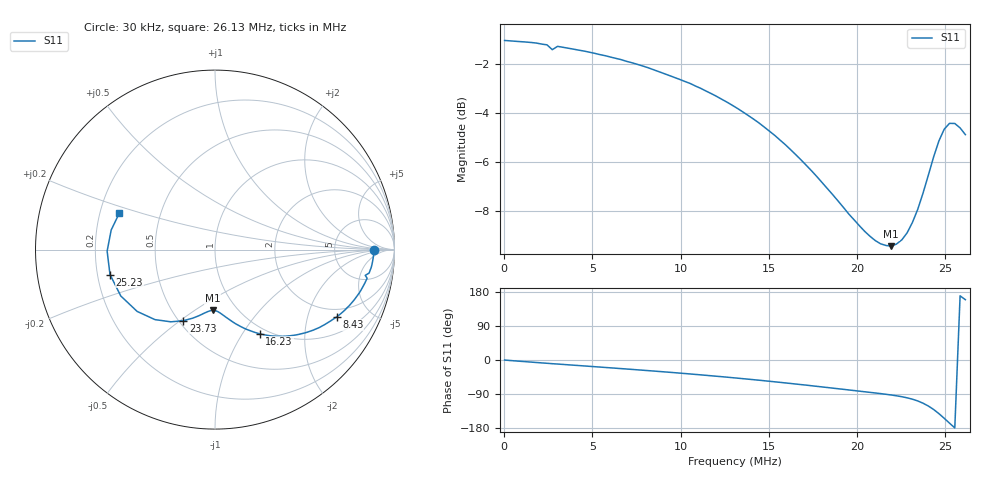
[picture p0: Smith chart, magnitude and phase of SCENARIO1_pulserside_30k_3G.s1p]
!Agilent N9914A: A.07.26
!Date: Monday, 20 February 2023 13:56:21
!Model: N9914A
!Serial: MY53102584
!GPS Latitude:
!GPS Longitude:
!GPS TimeStamp: 0001-01-01 00:00:00Z
!GPS Seconds Since Last Read: 0
!CHECKSUM:1681958176
!Correction: S11(ON U)
!S1P File: Measurement: S11:
# Hz S DB R 50
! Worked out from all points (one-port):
!   88 points, 30 kHz to 26.13 MHz, reference 50 ohm
!   lowest |S11| = -9.4 dB at 21.93 MHz (marker M1), VSWR 2.02, Z = 38.8 - j29.6 ohm
!   |S11| at or under -10 dB: nowhere
!   S11 on the Smith chart (normalised r, x): 30 kHz: 17, -0; 8.43 MHz: 1.64, -3.06; 16.23 MHz: 0.92, -1.20; 23.73 MHz: 0.53, -0.51; 25.23 MHz: 0.25, -0.11; 26.13 MHz: 0.28, +0.17
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30000  -1.04 -0.1
1829982  -1.15 -6.6
2429976  -1.22 -8.6
2729973  -1.42 -9.7
3029970  -1.28 -10.7
3329967  -1.32 -11.7
6629934  -1.82 -22.7
8429916  -2.23 -29.0
9929901  -2.62 -34.5
1.172988e7  -3.21 -41.6
1.322987e7  -3.82 -47.9
1.472985e7  -4.56 -54.7
1.622984e7  -5.49 -61.9
1.652984e7  -5.70 -63.5
1.98298e7  -8.35 -80.6
2.102979e7  -9.19 -87.0
2.192978e7  -9.41 -92.3
2.252978e7  -9.16 -96.9
2.312977e7  -8.45 -103.4
2.372976e7  -7.26 -114.0
2.402976e7  -6.53 -121.4
2.432976e7  -5.79 -130.6
2.462975e7  -5.13 -141.5
2.492975e7  -4.66 -153.8
2.522975e7  -4.42 -166.6
2.552974e7  -4.42 -179.2
2.582974e7  -4.60 169.3
2.612974e7  -4.88 159.1
